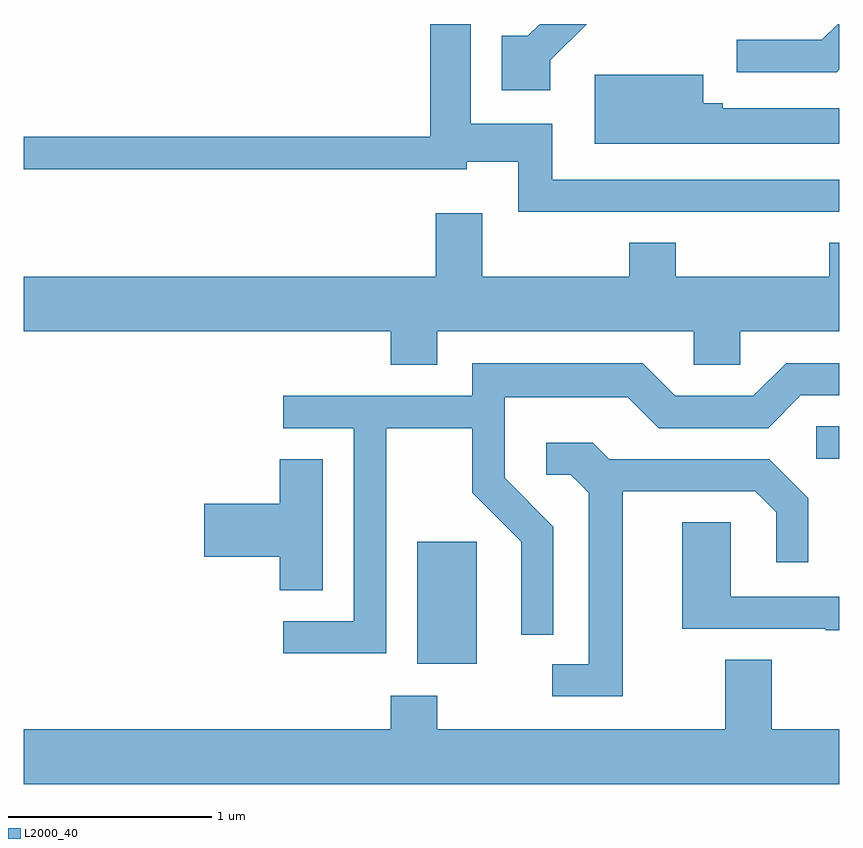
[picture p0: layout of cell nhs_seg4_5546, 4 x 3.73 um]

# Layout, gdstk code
import gdstk
lib = gdstk.Library(unit=1e-6, precision=1e-09)
def R(c, l, rs):  # rectangles x0, y0, x1, y1
    for r in rs: c.add(gdstk.rectangle(r[:2], r[2:], *l))
def P(c, l, *ps):  # polygons
    for p in ps: c.add(gdstk.Polygon(p, *l))
L2000_40 = (2000, 40)

nhs_seg4_5546 = lib.new_cell('nhs_seg4_5546')
R(nhs_seg4_5546, L2000_40, [(349.541,1330.846,349.834,1331.444), (351.498,1331.851,351.611,1332.009)])
P(nhs_seg4_5546, L2000_40, [(350.194,1333.804),(350.373,1333.982),(350.142,1333.982),(350.084,1333.924),(349.956,1333.924),(349.956,1333.656),(350.194,1333.656)],
  [(351.611,1333.76),(351.611,1333.982),(351.602,1333.982),(351.524,1333.904),(351.108,1333.904),(351.108,1333.746),(351.597,1333.746)],
  [(351.611,1333.219),(350.204,1333.219),(350.204,1333.494),(349.804,1333.494),(349.804,1333.982),(349.606,1333.982),(349.606,1333.429),(347.611,1333.429),(347.611,1333.271),(349.784,1333.271),(349.784,1333.306),(350.036,1333.306),(350.036,1333.061),(351.611,1333.061)],
  [(351.611,1333.569),(351.039,1333.569),(351.039,1333.594),(350.944,1333.594),(350.944,1333.734),(350.411,1333.734),(350.411,1333.396),(351.611,1333.396)],
  [(350.809,1332.909),(350.581,1332.909),(350.581,1332.744),(349.859,1332.744),(349.859,1333.054),(349.631,1333.054),(349.631,1332.744),(347.611,1332.744),(347.611,1332.476),(349.411,1332.476),(349.411,1332.311),(349.639,1332.311),(349.639,1332.476),(350.896,1332.476),(350.896,1332.311),(351.124,1332.311),(351.124,1332.476),(351.611,1332.476),(351.611,1332.909),(351.561,1332.909),(351.561,1332.744),(350.809,1332.744)],
  [(349.389,1332.001),(349.811,1332.001),(349.811,1331.684),(350.051,1331.444),(350.051,1330.988),(350.209,1330.988),(350.209,1331.517),(349.969,1331.757),(349.969,1332.151),(350.574,1332.151),(350.724,1332.001),(351.262,1332.001),(351.422,1332.161),(351.611,1332.161),(351.611,1332.319),(351.349,1332.319),(351.189,1332.159),(350.807,1332.159),(350.647,1332.319),(349.811,1332.319),(349.811,1332.159),(348.883,1332.159),(348.883,1332.001),(349.231,1332.001),(349.231,1331.054),(348.883,1331.054),(348.883,1330.896),(349.389,1330.896)],
  [(350.549,1331.691),(351.199,1331.691),(351.301,1331.589),(351.301,1331.343),(351.459,1331.343),(351.459,1331.657),(351.267,1331.849),(350.482,1331.849),(350.402,1331.929),(350.173,1331.929),(350.173,1331.771),(350.294,1331.771),(350.381,1331.684),(350.381,1330.844),(350.203,1330.844),(350.203,1330.686),(350.549,1330.686)],
  [(349.079,1331.849),(348.866,1331.849),(348.866,1331.629),(348.496,1331.629),(348.496,1331.371),(348.866,1331.371),(348.866,1331.206),(349.079,1331.206)],
  [(351.611,1331.174),(351.079,1331.174),(351.079,1331.539),(350.841,1331.539),(350.841,1331.016),(351.545,1331.016),(351.545,1331.011),(351.611,1331.011)],
  [(351.611,1330.524),(351.279,1330.524),(351.279,1330.864),(351.051,1330.864),(351.051,1330.524),(349.639,1330.524),(349.639,1330.689),(349.411,1330.689),(349.411,1330.524),(347.611,1330.524),(347.611,1330.256),(351.611,1330.256)])

lib.write_gds('nhs_seg4_5546.gds')
